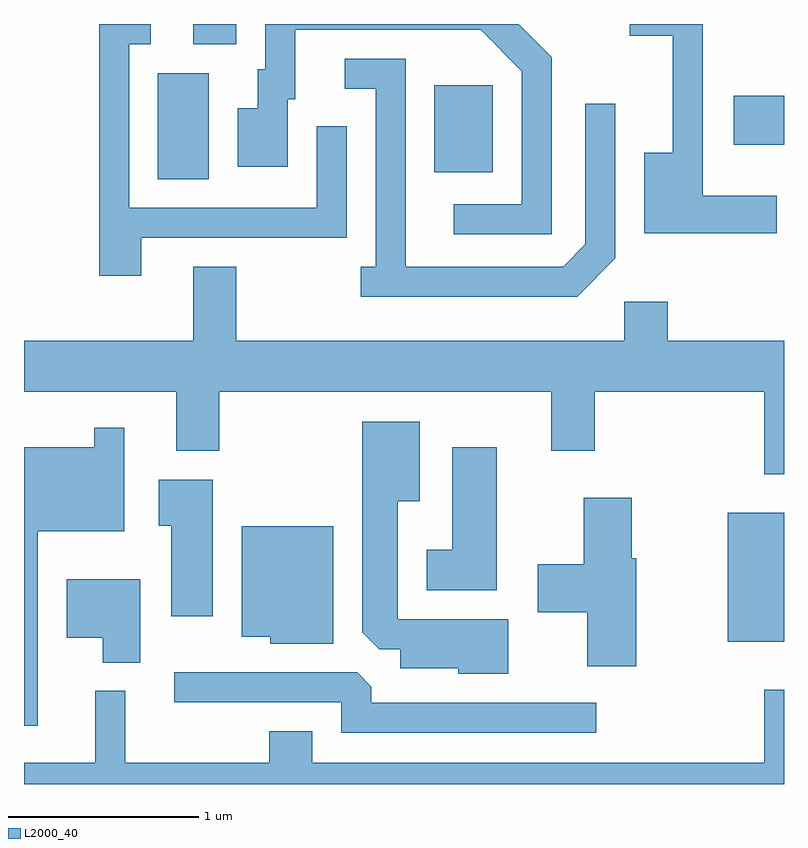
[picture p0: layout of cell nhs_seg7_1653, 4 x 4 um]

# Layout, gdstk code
import gdstk
lib = gdstk.Library(unit=1e-6, precision=1e-09)
def R(c, l, rs):  # rectangles x0, y0, x1, y1
    for r in rs: c.add(gdstk.rectangle(r[:2], r[2:], *l))
def P(c, l, *ps):  # polygons
    for p in ps: c.add(gdstk.Polygon(p, *l))
L2000_40 = (2000, 40)

nhs_seg7_1653 = lib.new_cell('nhs_seg7_1653')
R(nhs_seg7_1653, L2000_40, [(239.316,1713.001,239.611,1713.679), (236.316,1715.436,236.584,1715.994), (237.771,1715.471,238.079,1715.929), (239.346,1715.616,239.611,1715.874), (236.501,1716.146,236.729,1716.252)])
P(nhs_seg7_1653, L2000_40, [(238.389,1716.077),(238.214,1716.252),(236.881,1716.252),(236.881,1716.014),(236.841,1716.014),(236.841,1715.809),(236.736,1715.809),(236.736,1715.501),(236.999,1715.501),(236.999,1715.856),(237.039,1715.856),(237.039,1716.221),(238.014,1716.221),(238.231,1716.004),(238.231,1715.304),(237.873,1715.304),(237.873,1715.146),(238.389,1715.146)],
  [(236.229,1715.126),(237.309,1715.126),(237.309,1715.713),(237.151,1715.713),(237.151,1715.284),(236.164,1715.284),(236.164,1716.146),(236.278,1716.146),(236.278,1716.252),(236.006,1716.252),(236.006,1714.926),(236.229,1714.926)],
  [(239.574,1715.349),(239.184,1715.349),(239.184,1716.252),(238.798,1716.252),(238.798,1716.191),(239.026,1716.191),(239.026,1715.574),(238.876,1715.574),(238.876,1715.151),(239.574,1715.151)],
  [(238.724,1715.019),(238.724,1715.833),(238.566,1715.833),(238.566,1715.092),(238.449,1714.974),(237.619,1714.974),(237.619,1716.069),(237.298,1716.069),(237.298,1715.911),(237.461,1715.911),(237.461,1714.974),(237.383,1714.974),(237.383,1714.816),(238.522,1714.816)],
  [(239.611,1714.584),(238.999,1714.584),(238.999,1714.789),(238.771,1714.789),(238.771,1714.584),(236.729,1714.584),(236.729,1714.974),(236.501,1714.974),(236.501,1714.584),(235.611,1714.584),(235.611,1714.316),(236.411,1714.316),(236.411,1714.006),(236.639,1714.006),(236.639,1714.316),(238.386,1714.316),(238.386,1714.006),(238.614,1714.006),(238.614,1714.316),(239.506,1714.316),(239.506,1713.883),(239.611,1713.883)],
  [(238.159,1713.119),(237.579,1713.119),(237.579,1713.741),(237.694,1713.741),(237.694,1714.159),(237.391,1714.159),(237.391,1713.052),(237.482,1712.961),(237.591,1712.961),(237.591,1712.861),(237.896,1712.861),(237.896,1712.831),(238.159,1712.831)],
  [(235.684,1713.581),(236.139,1713.581),(236.139,1714.128),(235.981,1714.128),(235.981,1714.024),(235.611,1714.024),(235.611,1712.558),(235.684,1712.558)],
  [(238.099,1714.024),(237.866,1714.024),(237.866,1713.484),(237.731,1713.484),(237.731,1713.271),(238.099,1713.271)],
  [(236.604,1713.854),(236.321,1713.854),(236.321,1713.611),(236.386,1713.611),(236.386,1713.136),(236.604,1713.136)],
  [(238.834,1713.439),(238.809,1713.439),(238.809,1713.759),(238.556,1713.759),(238.556,1713.409),(238.316,1713.409),(238.316,1713.156),(238.576,1713.156),(238.576,1712.871),(238.834,1712.871)],
  [(237.239,1713.609),(236.756,1713.609),(236.756,1713.026),(236.906,1713.026),(236.906,1712.991),(237.239,1712.991)],
  [(236.224,1713.329),(235.836,1713.329),(235.836,1713.021),(236.026,1713.021),(236.026,1712.891),(236.224,1712.891)],
  [(238.623,1712.679),(237.439,1712.679),(237.439,1712.764),(237.364,1712.839),(236.403,1712.839),(236.403,1712.681),(237.281,1712.681),(237.281,1712.521),(238.623,1712.521)],
  [(239.611,1712.748),(239.506,1712.748),(239.506,1712.364),(237.129,1712.364),(237.129,1712.529),(236.901,1712.529),(236.901,1712.364),(236.144,1712.364),(236.144,1712.743),(235.986,1712.743),(235.986,1712.364),(235.611,1712.364),(235.611,1712.252),(239.611,1712.252)])

lib.write_gds('nhs_seg7_1653.gds')
